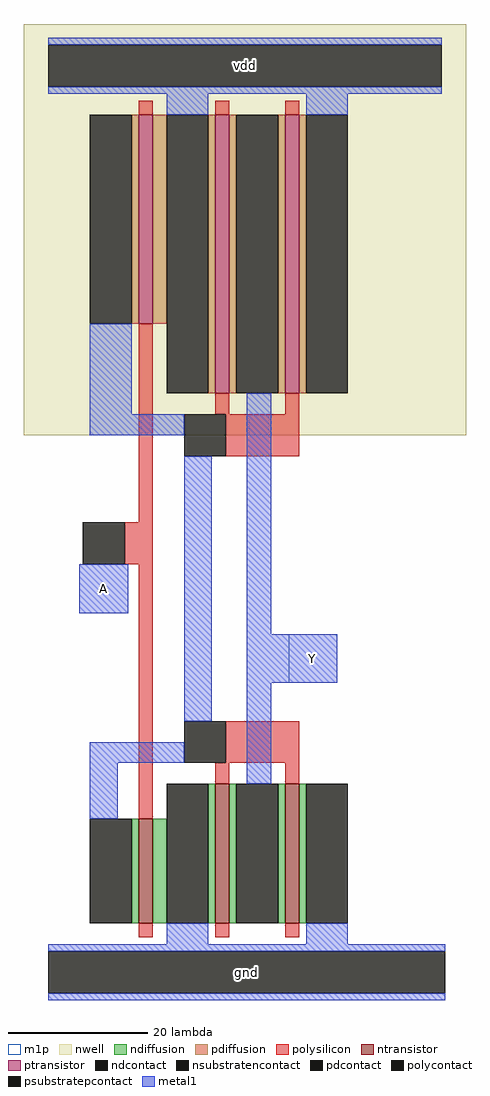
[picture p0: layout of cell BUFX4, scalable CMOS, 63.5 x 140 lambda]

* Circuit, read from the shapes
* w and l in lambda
.subckt BUFX4 A Y vdd gnd
M1 gnd A n1 gnd nfet w=15 l=2
M2 Y n1 gnd gnd nfet w=20 l=2 m=2
M3 vdd A n1 vdd pfet w=30 l=2
M4 Y n1 vdd vdd pfet w=40 l=2 m=2
.ends

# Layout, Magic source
magic
tech scmos
magscale 1 2
<< nwell >>
rect -13 154 114 272
<< ntransistor >>
rect 20 14 24 44
rect 42 14 46 54
rect 62 14 66 54
<< ptransistor >>
rect 20 186 24 246
rect 42 166 46 246
rect 62 166 66 246
<< ndiffusion >>
rect 18 14 20 44
rect 24 14 28 44
rect 40 14 42 54
rect 46 14 48 54
rect 60 14 62 54
rect 66 14 68 54
<< pdiffusion >>
rect 18 186 20 246
rect 24 186 28 246
rect 40 166 42 246
rect 46 166 48 246
rect 60 166 62 246
rect 66 166 68 246
<< ndcontact >>
rect 6 14 18 44
rect 28 14 40 54
rect 48 14 60 54
rect 68 14 80 54
<< pdcontact >>
rect 6 186 18 246
rect 28 166 40 246
rect 48 166 60 246
rect 68 166 80 246
<< psubstratepcontact >>
rect -6 -6 108 6
<< nsubstratencontact >>
rect -6 254 107 266
<< polysilicon >>
rect 20 246 24 250
rect 42 246 46 250
rect 62 246 66 250
rect 20 129 24 186
rect 42 160 46 166
rect 62 160 66 166
rect 45 148 66 160
rect 16 117 24 129
rect 20 44 24 117
rect 45 60 66 72
rect 42 54 46 60
rect 62 54 66 60
rect 20 10 24 14
rect 42 10 46 14
rect 62 10 66 14
<< polycontact >>
rect 33 148 45 160
rect 4 117 16 129
rect 33 60 45 72
<< metal1 >>
rect -6 266 107 268
rect -6 252 107 254
rect 28 246 40 252
rect 68 246 80 252
rect 6 160 18 186
rect 6 154 33 160
rect 3 103 17 117
rect 33 72 41 148
rect 51 97 58 166
rect 51 83 77 97
rect 6 60 33 66
rect 6 44 14 60
rect 51 54 58 83
rect 28 8 40 14
rect 68 8 80 14
rect -6 6 108 8
rect -6 -8 108 -6
<< m1p >>
rect 3 103 17 117
rect 63 83 77 97
<< labels >>
rlabel metal1 3 103 17 117 0 A
port 0 nsew signal input
rlabel metal1 -6 252 107 268 0 vdd
port 2 nsew power bidirectional abutment
rlabel metal1 -6 -8 108 8 0 gnd
port 3 nsew ground bidirectional abutment
rlabel metal1 63 83 77 97 0 Y
port 1 nsew signal output
<< properties >>
string FIXED_BBOX 0 0 100 260
string LEFclass CORE
string LEFsite core
string LEFsymmetry X Y
<< end >>
